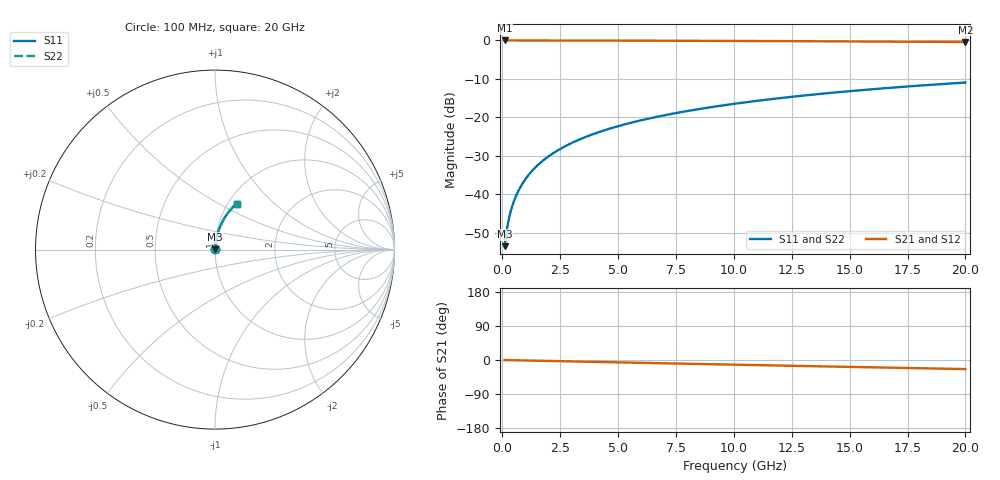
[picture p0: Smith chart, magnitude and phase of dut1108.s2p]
! Touchstone file exported from HFSS 2026.1.0
!  File:  C:/ffzhzh/LocalFiles/Ansys_Project_Files/temp_train_TMRDL_1108_1783161374_18472.aedt
!  Generated:  06:37:24 PM Jul  4, 2026
!  Design:  TMRDL
!  Project:  temp_train_TMRDL_1108_1783161374_18472
! Variables:
!  h_bsmrdl = 2um
!  h_ox = 20um
!  h_rdl = 5um
!  h_sub = 80um
!  h_tmrdl = 4.38um
!  h_tsv = 80um
!  h_via = 3um
!  l_bsmrdl = 300um
!  l_sub = 670.05um
!  l_tmrdl = 270.05um
!  m_sub = 200um
!  pitch = 59.61um
!  r_tsv = 6um
!  s_tmrdl = 10um
!  w_bsmrdl = 18um
!  w_sub = 500um
!  w_tmrdl = 18.08um
!  x_tsv_center1 = 279.09um
!  x_tsv_center2 = 597.09um
!  x_tsv_center3 = 885.22um
!  x_tsv_center4 = 1203.22um
!  x_tsv_center5 = 1491.35um
!  x_tsv_center6 = 1809.35um
# GHz S MA R 50.000000
! Terminal data exported
! Port[1] = TM_RDL1_1_T1
! Port[2] = TM_RDL1_1_T2
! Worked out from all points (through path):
!   200 points, 100 MHz to 20 GHz, reference 50 ohm
!   highest |S21| = -0.01 dB at 100 MHz (marker M1); lowest = -0.4 dB at 20 GHz (marker M2)
!   group delay of S21, straight-line fit = 3.33 ps
!   lowest |S11| = -53.5 dB at 100 MHz (marker M3), VSWR 1.00, Z = 50.1 + j0.163 ohm
!   |S11| at or under -10 dB: start of sweep to end of sweep
!   |S22| runs from -53.5 to -10.9 dB; largest |S21 - S12| = 2.7e-15
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0.1  0.002118 50.1  0.9986 -0.1  0.9986 -0.1  0.002118 50.1
! Gamma 0 0 0 0
! Port Impedance 50 0 50 0
0.2  0.003527 66.4  0.9986 -0.3  0.9986 -0.3  0.003527 66.4
0.3  0.005039 72.9  0.9985 -0.4  0.9985 -0.4  0.00504 72.9
0.4  0.00657 76.3  0.9985 -0.5  0.9985 -0.5  0.00657 76.3
0.5  0.008102 78.4  0.9984 -0.6  0.9984 -0.6  0.008104 78.4
0.7  0.01117 80.8  0.9984 -0.9  0.9984 -0.9  0.01117 80.8
0.8  0.0127 81.6  0.9983 -1.0  0.9983 -1.0  0.01271 81.6
1  0.01578 82.6  0.9982 -1.3  0.9982 -1.3  0.01578 82.6
1.2  0.01885 83.2  0.9982 -1.5  0.9982 -1.5  0.01886 83.2
1.4  0.02193 83.6  0.9981 -1.8  0.9981 -1.8  0.02193 83.6
1.7  0.02655 83.9  0.9979 -2.1  0.9979 -2.1  0.02655 83.9
2  0.03117 84.0  0.9977 -2.5  0.9977 -2.5  0.03117 84.0
2.7  0.04191 83.8  0.9971 -3.4  0.9971 -3.4  0.04191 83.8
3.5  0.05412 83.2  0.9963 -4.4  0.9963 -4.4  0.05412 83.2
4.2  0.06473 82.5  0.9954 -5.3  0.9954 -5.3  0.06473 82.5
5  0.07676 81.7  0.9943 -6.3  0.9943 -6.3  0.07676 81.7
6.8  0.1035 79.7  0.9913 -8.5  0.9913 -8.5  0.1035 79.7
8.3  0.1254 78.0  0.9883 -10.3  0.9883 -10.3  0.1254 78.0
10.1  0.1512 75.9  0.9842 -12.5  0.9842 -12.5  0.1512 75.9
13.4  0.1973 72.2  0.9754 -16.4  0.9754 -16.4  0.1973 72.2
16.7  0.2415 68.5  0.965 -20.2  0.965 -20.2  0.2415 68.5
20  0.2835 64.9  0.9531 -24.0  0.9531 -24.0  0.2835 64.9
